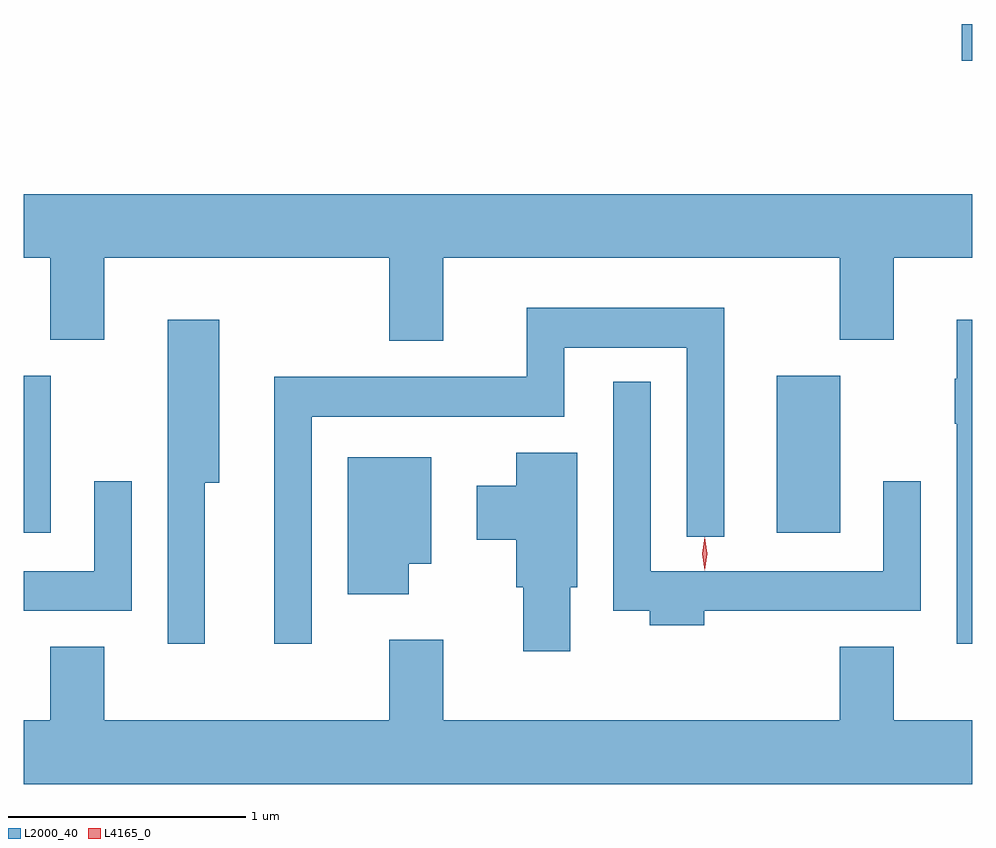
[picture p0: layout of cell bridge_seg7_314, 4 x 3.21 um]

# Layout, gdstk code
import gdstk
lib = gdstk.Library(unit=1e-6, precision=1e-09)
def R(c, l, rs):  # rectangles x0, y0, x1, y1
    for r in rs: c.add(gdstk.rectangle(r[:2], r[2:], *l))
def P(c, l, *ps):  # polygons
    for p in ps: c.add(gdstk.Polygon(p, *l))
L2000_40 = (2000, 40)
L4165_0 = (4165, 0)

bridge_seg7_314 = lib.new_cell('bridge_seg7_314')
R(bridge_seg7_314, L2000_40, [(1177.41,1766.436,1177.524,1767.099), (1180.586,1766.436,1180.854,1767.099), (1181.366,1768.426,1181.41,1768.582)])
P(bridge_seg7_314, L2000_40, [(1179.179,1767.596),(1180.851,1767.596),(1180.851,1767.251),(1181.079,1767.251),(1181.079,1767.596),(1181.41,1767.596),(1181.41,1767.864),(1177.41,1767.864),(1177.41,1767.596),(1177.521,1767.596),(1177.521,1767.251),(1177.749,1767.251),(1177.749,1767.596),(1178.951,1767.596),(1178.951,1767.246),(1179.179,1767.246)],
  [(1178.624,1766.926),(1179.689,1766.926),(1179.689,1767.216),(1180.206,1767.216),(1180.206,1766.418),(1180.364,1766.418),(1180.364,1767.384),(1179.531,1767.384),(1179.531,1767.094),(1178.466,1767.094),(1178.466,1765.968),(1178.624,1765.968)],
  [(1178.174,1766.646),(1178.234,1766.646),(1178.234,1767.334),(1178.016,1767.334),(1178.016,1765.968),(1178.174,1765.968)],
  [(1181.41,1767.334),(1181.346,1767.334),(1181.346,1767.085),(1181.336,1767.085),(1181.336,1766.895),(1181.346,1766.895),(1181.346,1765.968),(1181.41,1765.968)],
  [(1180.279,1766.106),(1181.194,1766.106),(1181.194,1766.653),(1181.036,1766.653),(1181.036,1766.274),(1180.054,1766.274),(1180.054,1767.073),(1179.896,1767.073),(1179.896,1766.106),(1180.051,1766.106),(1180.051,1766.046),(1180.279,1766.046)],
  [(1179.714,1766.206),(1179.744,1766.206),(1179.744,1766.774),(1179.486,1766.774),(1179.486,1766.634),(1179.321,1766.634),(1179.321,1766.406),(1179.486,1766.406),(1179.486,1766.206),(1179.516,1766.206),(1179.516,1765.936),(1179.714,1765.936)],
  [(1179.034,1766.306),(1179.129,1766.306),(1179.129,1766.754),(1178.776,1766.754),(1178.776,1766.176),(1179.034,1766.176)],
  [(1177.864,1766.653),(1177.706,1766.653),(1177.706,1766.274),(1177.41,1766.274),(1177.41,1766.106),(1177.864,1766.106)],
  [(1181.41,1765.644),(1181.079,1765.644),(1181.079,1765.954),(1180.851,1765.954),(1180.851,1765.644),(1179.179,1765.644),(1179.179,1765.984),(1178.951,1765.984),(1178.951,1765.644),(1177.749,1765.644),(1177.749,1765.954),(1177.521,1765.954),(1177.521,1765.644),(1177.41,1765.644),(1177.41,1765.376),(1181.41,1765.376)])
P(bridge_seg7_314, L4165_0, [(1180.282,1766.277),(1180.282,1766.278),(1180.272,1766.347),(1180.282,1766.416),(1180.282,1766.416),(1180.283,1766.416),(1180.292,1766.347),(1180.283,1766.278)])

lib.write_gds('bridge_seg7_314.gds')
